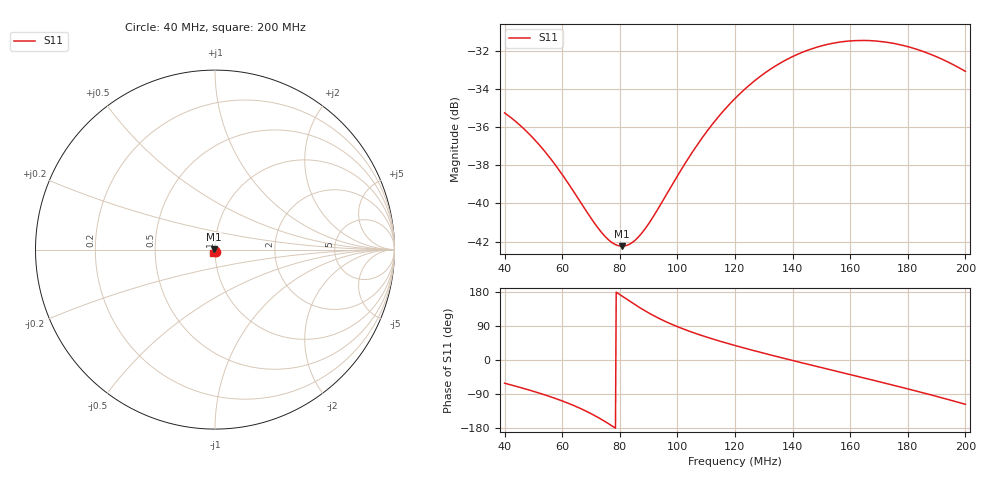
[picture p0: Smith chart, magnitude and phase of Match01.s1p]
# Hz S RI R 50
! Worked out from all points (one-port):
!   641 points, 40 MHz to 200 MHz, reference 50 ohm
!   lowest |S11| = -42.2 dB at 80.75 MHz (marker M1), VSWR 1.02, Z = 49.2 + j0.148 ohm
!   |S11| at or under -10 dB: start of sweep to end of sweep
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4e7  0.00831 -0.0151
4.475e7  0.00526 -0.0153
5e7  0.00191 -0.0147
5.475e7  -0.000938 -0.0134
6e7  -0.00369 -0.0113
6.975e7  -0.00711 -0.00586
7.325e7  -0.00768 -0.00357
7.675e7  -0.00786 -0.00121
8e7  -0.00767 0.000997
8.075e7  -0.00758 0.0015
8.425e7  -0.00691 0.00381
8.8e7  -0.00577 0.00614
9.2e7  -0.0041 0.00839
1e8  0.000414 0.0118
1.05e8  0.00383 0.013
1.1e8  0.00749 0.0134
1.15e8  0.0112 0.013
1.2e8  0.0148 0.0117
1.2475e8  0.0179 0.00968
1.2975e8  0.0207 0.00688
1.3475e8  0.0228 0.00349
1.4e8  0.0243 -0.000555
1.4975e8  0.0244 -0.00864
1.6e8  0.0209 -0.0166
1.7e8  0.0144 -0.0224
1.8e8  0.00614 -0.025
1.895e8  -0.00212 -0.0242
2e8  -0.0101 -0.0198
